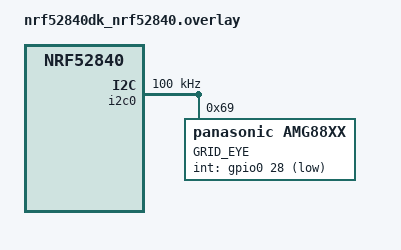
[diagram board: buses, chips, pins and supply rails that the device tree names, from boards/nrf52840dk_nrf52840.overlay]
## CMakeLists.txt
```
# SPDX-License-Identifier: Apache-2.0

cmake_minimum_required(VERSION 3.20.0)
find_package(Zephyr REQUIRED HINTS $ENV{ZEPHYR_BASE})
project(grid_eye)

target_sources(app PRIVATE 
src/main.c)

if(IBEACON_RSSI)
  zephyr_compile_definitions(IBEACON_RSSI=${IBEACON_RSSI})
endif()
```

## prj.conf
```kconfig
#SENSOR_CHAN_AMBIENT_TEMP

CONFIG_I2C=y
CONFIG_SENSOR=y
CONFIG_AMG88XX=y          # core driver
CONFIG_LOG=y              # nice to have
CONFIG_LOG_BUFFER_SIZE=4096
CONFIG_GPIO=y

CONFIG_ADC=y
CONFIG_ADC_NRFX_SAADC=y 
```

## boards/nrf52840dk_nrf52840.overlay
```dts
/* Enable the first I²C controller (pins P0.26/P0.27) */
&i2c0 {
    status = "okay";
    clock-frequency = <I2C_BITRATE_STANDARD>;   /* 100 kHz */

    grideye: amg8833@69 {            /* SparkX default address 0x69   */
        compatible = "panasonic,amg88xx";
        reg = <0x69>;
        label = "GRID_EYE";
        /* connect INT to P0.28 if you want threshold/trigger mode */
        int-gpios = <&gpio0 28 GPIO_ACTIVE_LOW>;
    };
};
```

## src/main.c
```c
/*
 * nRF52840-DK application
 * ─────────────────────────────────────────────────────────────
 *  SW0 (button 1) : capture a Grid-EYE 8 × 8 frame
 *  SW1 (button 2) : cycle “Sensor n Selected”
 *  SW2 (button 3) : read soil-moisture voltage on AIN4 / P0.28
 *  SW3 (button 4) : toggle P0.29 (digital OUT) high/low
 */

#include <zephyr/kernel.h>
#include <zephyr/device.h>
#include <zephyr/drivers/sensor.h>
#include <zephyr/drivers/gpio.h>
#include <zephyr/drivers/adc.h>
#include <zephyr/sys/printk.h>
#include <hal/nrf_saadc.h>          /* for NRF_SAADC_INPUT_AIN4 */

#define PIXELS            64        /* 8 × 8 Grid-EYE frame */
#define SOIL_ADC_CH       4         /* AIN4 ⇨ P0.28 */
#define ADC_RESOLUTION    12
#define ADC_REF_MV        600       /* 0.6 V internal ref */
#define ADC_GAIN          ADC_GAIN_1_6

/* -------- Board buttons ------------------------------------------------------------------ */
static const struct gpio_dt_spec btn1 = GPIO_DT_SPEC_GET(DT_ALIAS(sw0), gpios); /* P0.11 */
static const struct gpio_dt_spec btn2 = GPIO_DT_SPEC_GET(DT_ALIAS(sw1), gpios); /* P0.12 */
static const struct gpio_dt_spec btn3 = GPIO_DT_SPEC_GET(DT_ALIAS(sw2), gpios); /* P0.24 */
static const struct gpio_dt_spec btn4 = GPIO_DT_SPEC_GET(DT_ALIAS(sw3), gpios); /* P0.25 */

static struct gpio_callback btn1_cb, btn2_cb, btn3_cb, btn4_cb;

/* -------- Flags set by ISRs -------------------------------------------------------------- */
static volatile bool grab_frame_now;
static volatile bool read_soil_now;
static volatile bool toggle_out_now;

/* -------- Misc state --------------------------------------------------------------------- */
static uint8_t sensor_idx;          /* 0‥3 cycles on button 2 */
static bool out_state;              /* current level on P0.29 */

/* -------- GPIO device handle ------------------------------------------------------------- */
static const struct device *gpio0;

/* -------- SAADC (soil-moisture) ---------------------------------------------------------- */
static const struct device *adc_dev = DEVICE_DT_GET(DT_NODELABEL(adc));
static int16_t soil_sample;

static int soil_adc_init(void)
{
    struct adc_channel_cfg ch_cfg = {
        .gain             = ADC_GAIN,
        .reference        = ADC_REF_INTERNAL,
        .acquisition_time = ADC_ACQ_TIME_DEFAULT,
        .channel_id       = SOIL_ADC_CH,
#if defined(CONFIG_ADC_NRFX_SAADC)
        .input_positive   = NRF_SAADC_INPUT_AIN4,
#endif
    };
    return adc_channel_setup(adc_dev, &ch_cfg);
}

static int read_soil_mv(int *mv_out)
{
    struct adc_sequence seq = {
        .channels    = BIT(SOIL_ADC_CH),
        .buffer      = &soil_sample,
        .buffer_size = sizeof(soil_sample),
        .resolution  = ADC_RESOLUTION,
    };
    int err = adc_read(adc_dev, &seq);
    if (err) { return err; }

    /* Convert raw sample to millivolts: sample × (Vref / gain) / (2^resolution) */
    int32_t mv = soil_sample;
    mv = (mv * (ADC_REF_MV * 6)) >> ADC_RESOLUTION;   /* gain 1/6 ⇒ FS ≈ 3.6 V */
    *mv_out = (int)mv;
    return 0;
}

/* -------- Button ISRs -------------------------------------------------------------------- */
static void btn1_isr(const struct device *dev, struct gpio_callback *cb, uint32_t pins)
{ grab_frame_now = true; }

static void btn2_isr(const struct device *dev, struct gpio_callback *cb, uint32_t pins)
{
    sensor_idx = (sensor_idx + 1) & 0x03;
    printk("Sensor %u Selected\n", sensor_idx + 1);
}

static void btn3_isr(const struct device *dev, struct gpio_callback *cb, uint32_t pins)
{ read_soil_now = true; }

static void btn4_isr(const struct device *dev, struct gpio_callback *cb, uint32_t pins)
{ toggle_out_now = true; }

/* ----------------------------------------------------------------------------------------- */
void main(void)
{
    const struct device *amg = DEVICE_DT_GET_ANY(panasonic_amg88xx);
    printk("Start\n");

    /* ---------- sanity checks ------------------------------------------------------------ */
    if (!device_is_ready(amg))      { printk("AMG88xx not ready\n"); return; }
    if (!device_is_ready(adc_dev))  { printk("SAADC not ready\n");  return; }
    if (soil_adc_init())            { printk("SAADC channel fail\n"); return; }

    gpio0 = DEVICE_DT_GET(DT_NODELABEL(gpio0));
    if (!device_is_ready(gpio0))    { printk("GPIO0 not ready\n");  return; }

    /* ---------- configure output pin P0.29 ---------------------------------------------- */
    gpio_pin_configure(gpio0, 29, GPIO_OUTPUT_LOW);
    out_state = false;

    /* ---------- configure buttons ------------------------------------------------------- */
    struct {
        const struct gpio_dt_spec *spec;
        struct gpio_callback      *cb;
        gpio_callback_handler_t    isr;
    } buttons[] = {
        { &btn1, &btn1_cb, btn1_isr },
        { &btn2, &btn2_cb, btn2_isr },
        { &btn3, &btn3_cb, btn3_isr },
        { &btn4, &btn4_cb, btn4_isr },
    };

    for (size_t i = 0; i < ARRAY_SIZE(buttons); i++) {
        if (!device_is_ready(buttons[i].spec->port)) {
            printk("Button port %zu not ready\n", i);
            return;
        }
        gpio_pin_configure_dt(buttons[i].spec, GPIO_INPUT);
        gpio_pin_interrupt_configure_dt(buttons[i].spec, GPIO_INT_EDGE_TO_ACTIVE);
        gpio_init_callback(buttons[i].cb, buttons[i].isr, BIT(buttons[i].spec->pin));
        gpio_add_callback(buttons[i].spec->port, buttons[i].cb);
    }

    /* ---------- runtime loop ------------------------------------------------------------ */
    struct sensor_value frame[PIXELS];

    while (1) {
        /* Button 1 – Grid-EYE frame */
        if (grab_frame_now) {
            grab_frame_now = false;
            if (sensor_sample_fetch(amg) == 0 &&
                sensor_channel_get(amg, SENSOR_CHAN_AMBIENT_TEMP, frame) == 0) {

                printk("\nFrame for Sensor %u\n", sensor_idx + 1);
                for (int y = 0; y < 8; y++) {
                    for (int x = 0; x < 8; x++) {
                        printk("%3d ", frame[y*8 + x].val1);
                    }
                    printk("\n");
                }
                printk("\n");
            } else {
                printk("Sensor read failed\n");
            }
        }

        /* Button 3 – soil-moisture voltage */
        if (read_soil_now) {
            read_soil_now = false;
            int mv;
            if (read_soil_mv(&mv) == 0) {
                printk("Soil probe : %d mV\n", mv);
            } else {
                printk("SAADC read error\n");
            }
        }

        /* Button 4 – toggle P0.29 */
        if (toggle_out_now) {
            toggle_out_now = false;
            out_state = !out_state;
            gpio_pin_set(gpio0, 29, out_state);
            printk("P0.29 set %s\n", out_state ? "HIGH" : "LOW");
        }

        k_sleep(K_MSEC(10));
    }
}
```
